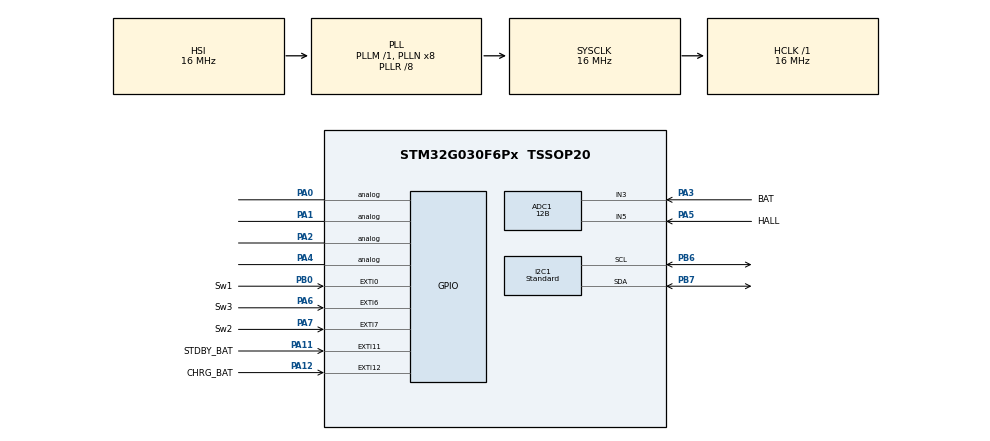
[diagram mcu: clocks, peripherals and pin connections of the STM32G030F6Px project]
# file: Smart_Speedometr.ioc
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ADC1.AWD1HighThreshold=2300
ADC1.AWD1ITMode=ENABLE
ADC1.AWD1LowThreshold=0
ADC1.AWatchdogChannel=ADC_CHANNEL_5
ADC1.Channel-1\#ChannelRegularConversion=ADC_CHANNEL_3
ADC1.Channel-3\#ChannelRegularConversion=ADC_CHANNEL_5
ADC1.ClockPrescaler=ADC_CLOCK_ASYNC_DIV4
ADC1.ContinuousConvMode=ENABLE
ADC1.DMAContinuousRequests=ENABLE
ADC1.DataAlign=ADC_DATAALIGN_RIGHT
ADC1.DiscontinuousConvMode=DISABLE
ADC1.EOCSelection=ADC_EOC_SINGLE_CONV
ADC1.EnableAnalogWatchDog1=true
ADC1.LowPowerAutoPowerOff=DISABLE
ADC1.LowPowerAutoWait=DISABLE
ADC1.NbrOfConversion=2
ADC1.NbrOfConversionFlag=1
ADC1.Overrun=ADC_OVR_DATA_PRESERVED
ADC1.OversamplingMode=DISABLE
ADC1.Rank-1\#ChannelRegularConversion=1
ADC1.Rank-3\#ChannelRegularConversion=2
ADC1.Resolution=ADC_RESOLUTION_12B
ADC1.SamplingTime-1\#ChannelRegularConversion=ADC_SAMPLINGTIME_COMMON_1
ADC1.SamplingTime-3\#ChannelRegularConversion=ADC_SAMPLINGTIME_COMMON_2
ADC1.SamplingTimeCommon1=ADC_SAMPLETIME_160CYCLES_5
ADC1.SelectedChannel=ADC_CHANNEL_3|ADC_CHANNEL_5|ADC_CHANNEL_VREFINT|ADC_CHANNEL_VBAT
ADC1.Sequencer=FULLY_CONFIGURABLE
ADC1.TriggerFrequencyMode=ADC_TRIGGER_FREQ_HIGH
ADC1.master=1
Dma.ADC1.0.Direction=DMA_PERIPH_TO_MEMORY
Dma.ADC1.0.EventEnable=DISABLE
Dma.ADC1.0.Instance=DMA1_Channel1
Dma.ADC1.0.MemDataAlignment=DMA_MDATAALIGN_HALFWORD
Dma.ADC1.0.MemInc=DMA_MINC_ENABLE
Dma.ADC1.0.Mode=DMA_CIRCULAR
Dma.ADC1.0.PeriphDataAlignment=DMA_PDATAALIGN_HALFWORD
Dma.ADC1.0.PeriphInc=DMA_PINC_DISABLE
Dma.ADC1.0.Polarity=HAL_DMAMUX_REQ_GEN_RISING
Dma.ADC1.0.Priority=DMA_PRIORITY_LOW
Dma.ADC1.0.RequestNumber=1
Dma.ADC1.0.SignalID=NONE
Dma.ADC1.0.SyncEnable=DISABLE
Dma.ADC1.0.SyncPolarity=HAL_DMAMUX_SYNC_NO_EVENT
Dma.ADC1.0.SyncRequestNumber=1
Dma.ADC1.0.SyncSignalID=NONE
Dma.Request0=ADC1
I2C1.I2C_Speed_Mode=I2C_Standard
I2C1.Timing=0x00503D58
Mcu.Family=STM32G0
Mcu.Name=STM32G030F6Px
Mcu.Package=TSSOP20
NVIC.ADC1_IRQn=true\:0\:0\:false\:false\:true\:true\:true\:true
NVIC.DMA1_Channel1_IRQn=true\:0\:0\:false\:false\:true\:false\:true\:true
NVIC.EXTI0_1_IRQn=true\:0\:0\:false\:false\:true\:true\:true\:true
NVIC.EXTI4_15_IRQn=true\:0\:0\:false\:false\:true\:true\:true\:true
NVIC.TIM14_IRQn=true\:0\:0\:false\:false\:true\:true\:true\:true
NVIC.TIM16_IRQn=true\:0\:0\:false\:false\:true\:true\:true\:true
NVIC.TIM17_IRQn=true\:0\:0\:false\:false\:true\:true\:true\:true
NVIC.TIM3_IRQn=true\:0\:0\:false\:false\:true\:true\:true\:true
PA0.Signal=GPIO_Analog
PA1.Signal=GPIO_Analog
PA11\ [PA9].GPIO_Label=STDBY_BAT
PA11\ [PA9].GPIO_ModeDefaultEXTI=GPIO_MODE_IT_RISING_FALLING
PA11\ [PA9].GPIO_PuPd=GPIO_PULLUP
PA11\ [PA9].Signal=GPXTI11
PA12\ [PA10].GPIO_Label=CHRG_BAT
PA12\ [PA10].GPIO_ModeDefaultEXTI=GPIO_MODE_IT_RISING_FALLING
PA12\ [PA10].GPIO_PuPd=GPIO_PULLUP
PA12\ [PA10].Signal=GPXTI12
PA13.Mode=Serial_Wire
PA13.Signal=SYS_SWDIO
PA14-BOOT0.Mode=Serial_Wire
PA14-BOOT0.Signal=SYS_SWCLK
PA14-BOOT0__PA15.StandardMode=true
PA2.Signal=GPIO_Analog
PA3.GPIO_Label=BAT
PA3.Mode=IN3
PA3.Signal=ADC1_IN3
PA4.Signal=GPIO_Analog
PA5.GPIO_Label=HALL
PA5.Mode=IN5
PA5.Signal=ADC1_IN5
PA6.GPIO_Label=Sw3
PA6.GPIO_ModeDefaultEXTI=GPIO_MODE_IT_RISING_FALLING
PA6.GPIO_PuPd=GPIO_PULLUP
PA6.Signal=GPXTI6
PA7.GPIO_Label=Sw2
PA7.GPIO_ModeDefaultEXTI=GPIO_MODE_IT_RISING_FALLING
PA7.GPIO_PuPd=GPIO_PULLUP
PA7.Signal=GPXTI7
PB0.GPIO_Label=Sw1
PB0.GPIO_ModeDefaultEXTI=GPIO_MODE_IT_RISING_FALLING
PB0.GPIO_PuPd=GPIO_PULLUP
PB0.Signal=GPXTI0
PB0__PB1__PB2__PA8.StandardMode=true
PB3__PB4__PB5__PB6.StandardMode=true
PB6.Mode=I2C
PB6.Signal=I2C1_SCL
PB7.Mode=I2C
PB7.Signal=I2C1_SDA
PB7__PB8.StandardMode=true
PC14-OSC32_IN\ (PC14).Mode=LSE-External-Oscillator
PC14-OSC32_IN\ (PC14).Signal=RCC_OSC32_IN
PC14-OSC32_IN\ (PC14)__PB9.StandardMode=true
PC15-OSC32_OUT\ (PC15).Mode=LSE-External-Oscillator
PC15-OSC32_OUT\ (PC15).Signal=RCC_OSC32_OUT
ProjectManager.HeapSize=0x200
ProjectManager.StackSize=0x400
ProjectManager.TargetToolchain=STM32CubeIDE
RCC.ADCCLockSelection=RCC_ADCCLKSOURCE_PLLADC
RCC.ADCFreq_Value=16000000
RCC.AHBFreq_Value=16000000
RCC.CortexFreq_Value=16000000
RCC.EXTERNAL_CLOCK_VALUE=12288000
RCC.HCLKFreq_Value=16000000
RCC.HSE_VALUE=8000000
RCC.HSI_VALUE=16000000
RCC.PLLP=RCC_PLLP_DIV8
RCC.PLLR=RCC_PLLR_DIV8
RCC.RTCClockSelection=RCC_RTCCLKSOURCE_LSE
RCC.SYSCLKFreq_VALUE=16000000
RCC.SYSCLKSource=RCC_SYSCLKSOURCE_PLLCLK
RCC.VCOOutputFreq_Value=128000000
TIM14.Period=5050
TIM14.Prescaler=15999
TIM16.Period=4999
TIM16.Prescaler=15999
TIM17.Period=14999
TIM17.Prescaler=15999
TIM3.Period=59
TIM3.Prescaler=15999
VP_ADC1_Vbat_Input.Mode=IN-Vbat
VP_ADC1_Vref_Input.Mode=IN-Vrefint
VP_RTC_VS_RTC_Activate.Mode=RTC_Enabled
VP_TIM14_VS_ClockSourceINT.Mode=Enable_Timer
VP_TIM16_VS_ClockSourceINT.Mode=Enable_Timer
VP_TIM17_VS_ClockSourceINT.Mode=Enable_Timer
VP_TIM3_VS_ClockSourceINT.Mode=Internal
board=custom

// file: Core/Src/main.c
/* USER CODE BEGIN Header */
/**
  ******************************************************************************
  * @file           : main.c
  * @brief          : Main program body
  ******************************************************************************
  * @attention
  *
  * Copyright (c) 2025 STMicroelectronics.
  * All rights reserved.
  *
  * This software is licensed under terms that can be found in the LICENSE file
  * in the root directory of this software component.
  * If no LICENSE file comes with this software, it is provided AS-IS.
  *
  ******************************************************************************
  */
/* USER CODE END Header */
#include "main.h"

/* USER CODE BEGIN Includes */
#include <stdio.h>
#include "ssd1306.h"

/* USER CODE END Includes */

/* USER CODE BEGIN PD */
//#define ADDR_CALIBR_VREF ((uint16_t*) ((uint32_t) 0x1FFF75AA))

#define INCH20_WHEEL 1595 // meters 10^-3
#define INCH24_WHEEL 1915 // meters 10^-3
#define INCH26_WHEEL 2074 // meters 10^-3
#define INCH27_WHEEL 2154 // meters 10^-3
#define INCH28_WHEEL 2234 // meters 10^-3
#define INCH29_WHEEL 2314 // meters 10^-3

#define SW1 (1<<0)		// Button 1
#define SW2 (1<<1)		// Button 2
#define SW3 (1<<2)		// Button 3
#define TIMER3 (1<<3)	// Timer 3
#define TIMER16 (1<<4)	// Timer 16
#define START_TIM14 (1<<5)	// Start  Timer 14
#define SLEEP (1<<6)	// Sleep MCU

#define DELAY 200 		// ms
#define DELAY_ADC 29 	// ms

#define SMOOTH_SPEED_A 		25
#define SMOOTH_SPEED_DEL 	(100-SMOOTH_SPEED_A)

#define QUANTITY_OF_SAMPLES_SPEED 60

/* USER CODE END PD */

ADC_HandleTypeDef hadc1;
DMA_HandleTypeDef hdma_adc1;

I2C_HandleTypeDef hi2c1;

RTC_HandleTypeDef hrtc;

TIM_HandleTypeDef htim3;
TIM_HandleTypeDef htim14;
TIM_HandleTypeDef htim16;
TIM_HandleTypeDef htim17;

/* USER CODE BEGIN PV */

RTC_TimeTypeDef sTime;
RTC_DateTypeDef sDate;

char buf[25]; // Buffer for sprintf

volatile uint16_t adc[2]; 	// Results of ADC with DMA

volatile uint16_t smooth_speed = 0;  // Variable for regulation speed
volatile uint16_t speed = 0;			// Actual speed
volatile uint16_t average_speed_array[QUANTITY_OF_SAMPLES_SPEED] = {0};
volatile uint16_t average_speed_day = 0;
volatile uint16_t max_speed_day = 0;

volatile uint16_t odometr_hundreds = 0;
volatile uint16_t odometr_thousands  = 0;
volatile uint16_t odometr_decimal  = 0;
volatile uint8_t impulse = 0;

volatile uint16_t travel_time_msec;
volatile uint8_t travel_time_sec;
volatile uint8_t travel_time_min;
volatile uint8_t travel_time_hours;

volatile uint8_t switchers = 0b10000; // bits : 0 - sw1, 1 - sw2, 2 - sw3, 3 - tim3, 4 - tim16, 5 - start_tim_14
											// 6 - sleep

typedef enum {
	MAIN,
	SETTINGS,
	TIME,
	SIZE,
	CALIBRATION,
	COLOR
}Display;
Display config = MAIN;

uint16_t size = INCH26_WHEEL;					// Size of wheel

//volatile uint8_t impulse = 0;								// Impulse from Hall sensor
volatile uint16_t duration = 5025;						// Duration between impulse
//volatile uint8_t counter = 0;

uint16_t dead_zone, direct_zone;				// Variables for calibration

/* USER CODE END PV */

void SystemClock_Config(void);
static void MX_GPIO_Init(void);
static void MX_DMA_Init(void);
static void MX_I2C1_Init(void);
static void MX_ADC1_Init(void);
static void MX_RTC_Init(void);
static void MX_TIM16_Init(void);
static void MX_TIM14_Init(void);
static void MX_TIM3_Init(void);
static void MX_TIM17_Init(void);
/* USER CODE BEGIN PFP */
void AntiRattlesnake_TIM16(uint16_t Delay);
void CheckADC_or_Sleep(uint8_t Delay_ADC);

void WriteTime();		// Show time on display
void ConfigTime();		// Function for config time

uint16_t BatteryCharge();				// Measure Charge of battery
void WriteBatteryCharge(uint16_t adc);	// Show Charge of battery

//void DetectImpulse();		// Function for detect impulses
void CalculateSpeed();		// Function for calculating actual and smooth speed
/* USER CODE END PFP */

/* USER CODE BEGIN 0 */
void HAL_GPIO_EXTI_Falling_Callback(uint16_t GPIO_Pin){		// EXTI Handler Falling SWITCHERS

	if(GPIO_Pin == Sw1_Pin){
		switchers |= SW1;

		switchers &= ~SLEEP;

		HAL_TIM_Base_Stop_IT(&htim17);
		TIM17->CNT = 0;
		TIM17->PSC = 15999;
		TIM17->ARR = 14999;
		TIM17->SR &= ~TIM_SR_UIF;
		HAL_TIM_Base_Start_IT(&htim17);
	}

	if(GPIO_Pin == Sw2_Pin){
		switchers |= SW2;

		switchers &= ~SLEEP;

		HAL_TIM_Base_Stop_IT(&htim17);
		TIM17->CNT = 0;
		TIM17->PSC = 15999;
		TIM17->ARR = 14999;
		TIM17->SR &= ~TIM_SR_UIF;
		HAL_TIM_Base_Start_IT(&htim17);
	}

	if(GPIO_Pin == Sw3_Pin){
		switchers |= SW3;

		switchers &= ~SLEEP;

		HAL_TIM_Base_Stop_IT(&htim17);
		TIM17->CNT = 0;
		TIM17->PSC = 15999;
		TIM17->ARR = 14999;
		TIM17->SR &= ~TIM_SR_UIF;
		HAL_TIM_Base_Start_IT(&htim17);

	}
}
void HAL_GPIO_EXTI_Rising_Callback(uint16_t GPIO_Pin){		// EXTI Handler Rising SWITCHERS
	if(GPIO_Pin == Sw1_Pin){
		switchers &= ~SW1;
	}

	if(GPIO_Pin == Sw2_Pin){
		switchers &= ~SW2;
	}

	if(GPIO_Pin == Sw3_Pin){
		switchers &= ~SW3;
	}

}

void HAL_ADC_LevelOutOfWindowCallback(ADC_HandleTypeDef* hadc) 		// ADC Analog WatchDog Handler
{

HAL_ADC_Stop_DMA(&hadc1);

				if(switchers & START_TIM14){
					duration = TIM14->CNT;
					TIM14->CNT = 0;
				}
				else if(!(switchers & START_TIM14)){
					TIM14->CNT = 0;
					TIM14->SR &= ~TIM_SR_UIF;
					HAL_TIM_Base_Start_IT(&htim14);
					switchers |= START_TIM14;

					switchers &= ~TIMER3;
					HAL_TIM_Base_Stop_IT(&htim3);
					TIM3->CNT = 0;
					TIM3->SR &= ~TIM_SR_UIF;
					TIM3->ARR = 299;

					HAL_TIM_Base_Start_IT(&htim3);

					return 0;
				}

				if(duration > 37){

					switchers &= ~SLEEP;
					impulse++;

					travel_time_msec += duration;
					if(travel_time_msec >  1000){
						travel_time_sec += travel_time_msec/1000;
						travel_time_msec = travel_time_msec % 1000;
					}
					if(travel_time_sec >= 60){
						travel_time_min += travel_time_sec/60;
						travel_time_sec =  travel_time_sec - 60;
					}
					if(travel_time_min >= 60){
						travel_time_hours +=  travel_time_min/60;
						travel_time_min = travel_time_min - 60;
					}
					if(travel_time_hours >= 24)
						travel_time_hours = 0;

					uint8_t static time_for_avr;
					if(time_for_avr != sTime.Minutes){
						time_for_avr = sTime.Minutes;
						average_speed_array[time_for_avr] = smooth_speed;
					}

					HAL_TIM_Base_Stop_IT(&htim17);
					TIM17->CNT = 0;
					TIM17->PSC = 15999;
					TIM17->ARR = 14999;
					TIM17->SR &= ~TIM_SR_UIF;
					HAL_TIM_Base_Start_IT(&htim17);

				}

				switchers &= ~TIMER3;
				HAL_TIM_Base_Stop_IT(&htim3);
				TIM3->CNT = 0;
				TIM3->SR &= ~TIM_SR_UIF;
				TIM3->ARR = DELAY_ADC;

				HAL_TIM_Base_Start_IT(&htim3);

}
/* USER CODE END 0 */

int main(void)
{

  /* MCU Configuration--------------------------------------------------------*/

  /* Reset of all peripherals, Initializes the Flash interface and the Systick. */
  HAL_Init();

  /* Configure the system clock */
  SystemClock_Config();

  /* Initialize all configured peripherals */
  MX_GPIO_Init();
  MX_DMA_Init();
  MX_I2C1_Init();
  MX_ADC1_Init();
  MX_RTC_Init();
  MX_TIM16_Init();
  MX_TIM14_Init();
  MX_TIM3_Init();
  MX_TIM17_Init();
  /* USER CODE BEGIN 2 */
  ssd1306_Init();
  ssd1306_FlipScreenVertically();
  ssd1306_Clear();
  ssd1306_SetColor(White);
  /* USER CODE END 2 */

  /* Infinite loop */
  /* USER CODE BEGIN WHILE */

HAL_ADC_Start_DMA(&hadc1, (uint32_t *)adc, 2);

dead_zone = adc[1];
direct_zone = 250;

TIM17->CNT = 0;
TIM17->SR &= ~TIM_SR_UIF;
//TIM3->ARR = DELAY_ADC;
HAL_TIM_Base_Start_IT(&htim17);

  while (1)
  {
if(switchers & SLEEP)
	ssd1306_DisplayOff();
else if(!(switchers & SLEEP))
	ssd1306_DisplayOn();

	  if(switchers & SW1  && switchers & SW3){
	if(!(switchers & TIMER16)){
		if(TIM16->CNT >= 1500){
					  config = 1;
					  switchers &= ~SW1;
					  switchers &= ~SW3;
				  }
	}
	else{
		switchers &= ~TIMER16;
		TIM16->CNT = 0;
		TIM16->SR &= ~TIM_SR_UIF;
		TIM16->ARR = 2000;
		HAL_TIM_Base_Start_IT(&htim16);
	}
	  }

switch (config){

case(MAIN):
WriteTime();

WriteBatteryCharge(BatteryCharge());

CalculateSpeed();

	 break;

case(SETTINGS):			// Settings

typedef enum {STATUS = 0, SET_TIME = 1, SET_SIZE = 2, SET_COLOR = 3, MAKE_CALIBRATION = -1} Settings;
static Settings con;

if(switchers & SW1  && switchers & SW3)
	__NOP();

else if(switchers & SW3 && switchers & TIMER16){
	con++;
	AntiRattlesnake_TIM16(DELAY);
}
else if(switchers & SW1 && switchers & TIMER16){
	con--;
	AntiRattlesnake_TIM16(DELAY);
}

if(con > 3)
	con = -1;
else if(con < -1)
	con = 3;

switch (con) {
case(STATUS) :
		ssd1306_SetCursor(20, 0);
		sprintf(buf, "STATUS");
		ssd1306_WriteString(buf, Font_11x18);

		ssd1306_SetCursor(0, 20);
		sprintf(buf, "AVR SPEED:%02u.%01ukm/h", average_speed_day/10, average_speed_day % 10);
		ssd1306_WriteString(buf, Font_7x10);

		ssd1306_SetCursor(0, 30);
		sprintf(buf, "MAX SPEED:%02u.%01ukm/h", max_speed_day/10, max_speed_day % 10);
		ssd1306_WriteString(buf, Font_7x10);

		ssd1306_SetCursor(0, 40);
		sprintf(buf, "RIDE TIME:%02u:%02u:%02u",travel_time_hours , travel_time_min, travel_time_sec);
		ssd1306_WriteString(buf, Font_7x10);

		if(switchers & SW2 && switchers & TIMER16){
			if(switchers & SW2 && switchers & TIMER16){
				config = MAIN;
				AntiRattlesnake_TIM16(DELAY);
			}
		}
	break;

case(SET_TIME): //Config Time
		ssd1306_SetCursor(0, 0);
		sprintf(buf, "Set time");
		ssd1306_WriteString(buf, Font_11x18);

		if(switchers & SW2 && switchers & TIMER16){
			config = 2;
			AntiRattlesnake_TIM16(DELAY);
		}
		break;

case(SET_SIZE): //Config Size

		ssd1306_SetCursor(0, 0);
		sprintf(buf, "Set size");
		ssd1306_WriteString(buf, Font_11x18);

		if(switchers & SW2 && switchers & TIMER16){
			config = 3;

			size = 0;

			AntiRattlesnake_TIM16(DELAY);
		}
		break;

case(MAKE_CALIBRATION): //Config Calibration
		ssd1306_SetCursor(0, 0);
		sprintf(buf, "Calibration");
		ssd1306_WriteString(buf, Font_11x18);

		if (switchers & SW2 && switchers & TIMER16){
			config = 4;

			AntiRattlesnake_TIM16(DELAY);

		}
		break;

case(SET_COLOR):
		ssd1306_SetCursor(0, 0);
		sprintf(buf, "Set mode");
		ssd1306_WriteString(buf, Font_11x18);

		ssd1306_SetCursor(0, 20);
		sprintf(buf, "Dark or Light");
		ssd1306_WriteString(buf, Font_7x10);

		ssd1306_SetCursor(0, 30);
		sprintf(buf, "for display");
		ssd1306_WriteString(buf, Font_7x10);

		if (switchers & SW2 && switchers & TIMER16){
					config = 5;

					AntiRattlesnake_TIM16(DELAY);

				}

		break;
}
		break;
case(TIME):
		ConfigTime();
		break;
case(SIZE): //Size

uint8_t table_of_size[6] = {20, 24, 26, 27, 28, 29};

		static int8_t sizes;

		if(switchers & SW2 && switchers & TIMER16){
			config = 0;

			switch(sizes){
			case (0) :
		size = INCH20_WHEEL;
				break;
			case (1) :
		size = INCH24_WHEEL;
				break;
			case (2) :
		size = INCH26_WHEEL;
				break;
			case (3) :
		size = INCH27_WHEEL;
				break;
			case (4) :
		size = INCH28_WHEEL;
				break;
			case (5) :
		size = INCH29_WHEEL;
				break;
			}

			AntiRattlesnake_TIM16(DELAY);

			break;

		}
		else if(switchers & SW3 && switchers & TIMER16){
			sizes++;
			if(sizes > 5)
				sizes = 0;

			AntiRattlesnake_TIM16(DELAY);
		}

		else if(switchers & SW1 && switchers & TIMER16){
			sizes--;
			if(sizes < 0)
				sizes = 5;

			AntiRattlesnake_TIM16(DELAY);
		}

		ssd1306_SetCursor(33, 0);
		sprintf(buf, "Wheel");
		ssd1306_WriteString(buf, Font_11x18);

		ssd1306_SetCursor(0, 39);
		sprintf(buf, "Size:%dinch", table_of_size[sizes]);
		ssd1306_WriteString(buf, Font_11x18);

		break;
case(CALIBRATION): // Calibration

static uint8_t zones;
static volatile uint16_t dead_zone, direct_zone;

		if(zones){
			ssd1306_SetCursor(17, 0);
			sprintf(buf, "Set direct zone");
			ssd1306_WriteString(buf, Font_7x10);

if(switchers & SW2 && switchers & TIMER16){

	ADC_AnalogWDGConfTypeDef AnalogWDGConfig = {0};

				direct_zone = adc[1];

				zones = 0;
				config = MAIN;

				volatile uint16_t delta;
				if(direct_zone > dead_zone){
				 delta= (direct_zone - dead_zone)/2;

				AnalogWDGConfig.WatchdogNumber = ADC_ANALOGWATCHDOG_1;
				AnalogWDGConfig.WatchdogMode = ADC_ANALOGWATCHDOG_SINGLE_REG;
				AnalogWDGConfig.Channel = ADC_CHANNEL_5;
				AnalogWDGConfig.ITMode = ENABLE;
				AnalogWDGConfig.HighThreshold = direct_zone - delta;
				AnalogWDGConfig.LowThreshold = dead_zone - delta;
				if (HAL_ADC_AnalogWDGConfig(&hadc1, &AnalogWDGConfig) != HAL_OK)
				{
					 Error_Handler();
				}

				}
				else if(dead_zone > direct_zone){
					AnalogWDGConfig.WatchdogNumber = ADC_ANALOGWATCHDOG_1;
					AnalogWDGConfig.WatchdogMode = ADC_ANALOGWATCHDOG_SINGLE_REG;
					AnalogWDGConfig.Channel = ADC_CHANNEL_5;
					AnalogWDGConfig.ITMode = ENABLE;
					AnalogWDGConfig.HighThreshold = dead_zone + delta;
					AnalogWDGConfig.LowThreshold = direct_zone + delta;
					if (HAL_ADC_AnalogWDGConfig(&hadc1, &AnalogWDGConfig) != HAL_OK)
					{
						 Error_Handler();
					}
				}

				HAL_ADC_Stop_DMA(&hadc1);

				switchers &= ~TIMER3;
				HAL_TIM_Base_Stop_IT(&htim3);
				TIM3->CNT = 0;
				TIM3->SR &= ~TIM_SR_UIF;
				TIM3->ARR = 1999;

				HAL_TIM_Base_Start_IT(&htim3);

				AntiRattlesnake_TIM16(DELAY);
			}

			}
		else{
			ssd1306_SetCursor(17, 0);
			sprintf(buf, "Set dead zone");
			ssd1306_WriteString(buf, Font_7x10);

if(switchers & SW2 && switchers & TIMER16){

				dead_zone = adc[1];

				zones = 1;

				AntiRattlesnake_TIM16(DELAY);
			}

	}

			ssd1306_SetCursor(6, 24);
			sprintf(buf, "%d", adc[1]);
			ssd1306_WriteString(buf, Font_11x18);
			ssd1306_SetCursor(6, 48);
			sprintf(buf, "Put middle button");
			ssd1306_WriteString(buf, Font_7x10);

		break;

case(COLOR):
		ssd1306_SetCursor(0, 20);
		sprintf(buf, "Left for");
		ssd1306_WriteString(buf, Font_7x10);

		ssd1306_SetCursor(0, 30);
		sprintf(buf, "dark");
		ssd1306_WriteString(buf, Font_7x10);

		ssd1306_SetCursor(60, 20);
		sprintf(buf, "Right for");
		ssd1306_WriteString(buf, Font_7x10);

		ssd1306_SetCursor(60, 30);
		sprintf(buf, "light");
		ssd1306_WriteString(buf, Font_7x10);

		if(switchers & SW3){
			ssd1306_InvertDisplay();
			config = MAIN;
		}
		else if(switchers & SW1){
			 ssd1306_NormalDisplay();
			 config = MAIN;
		}

		break;
}

	 ssd1306_UpdateScreen();
	 ssd1306_Clear();
    /* USER CODE END WHILE */

  }
}

void SystemClock_Config(void)
{
  RCC_OscInitTypeDef RCC_OscInitStruct = {0};
  RCC_ClkInitTypeDef RCC_ClkInitStruct = {0};

  /** Configure the main internal regulator output voltage
  */
  HAL_PWREx_ControlVoltageScaling(PWR_REGULATOR_VOLTAGE_SCALE1);

  /** Configure LSE Drive Capability
  */
  HAL_PWR_EnableBkUpAccess();
  __HAL_RCC_LSEDRIVE_CONFIG(RCC_LSEDRIVE_LOW);

  /** Initializes the RCC Oscillators according to the specified parameters
  * in the RCC_OscInitTypeDef structure.
  */
  RCC_OscInitStruct.OscillatorType = RCC_OSCILLATORTYPE_HSI|RCC_OSCILLATORTYPE_LSE;
  RCC_OscInitStruct.LSEState = RCC_LSE_ON;
  RCC_OscInitStruct.HSIState = RCC_HSI_ON;
  RCC_OscInitStruct.HSIDiv = RCC_HSI_DIV1;
  RCC_OscInitStruct.HSICalibrationValue = RCC_HSICALIBRATION_DEFAULT;
  RCC_OscInitStruct.PLL.PLLState = RCC_PLL_ON;
  RCC_OscInitStruct.PLL.PLLSource = RCC_PLLSOURCE_HSI;
  RCC_OscInitStruct.PLL.PLLM = RCC_PLLM_DIV1;
  RCC_OscInitStruct.PLL.PLLN = 8;
  RCC_OscInitStruct.PLL.PLLP = RCC_PLLP_DIV8;
  RCC_OscInitStruct.PLL.PLLR = RCC_PLLR_DIV8;
  if (HAL_RCC_OscConfig(&RCC_OscInitStruct) != HAL_OK)
  {
    Error_Handler();
  }

  /** Initializes the CPU, AHB and APB buses clocks
  */
  RCC_ClkInitStruct.ClockType = RCC_CLOCKTYPE_HCLK|RCC_CLOCKTYPE_SYSCLK
                              |RCC_CLOCKTYPE_PCLK1;
  RCC_ClkInitStruct.SYSCLKSource = RCC_SYSCLKSOURCE_PLLCLK;
  RCC_ClkInitStruct.AHBCLKDivider = RCC_SYSCLK_DIV1;
  RCC_ClkInitStruct.APB1CLKDivider = RCC_HCLK_DIV1;

  if (HAL_RCC_ClockConfig(&RCC_ClkInitStruct, FLASH_LATENCY_0) != HAL_OK)
  {
    Error_Handler();
  }
}

static void MX_ADC1_Init(void)
{

  ADC_AnalogWDGConfTypeDef AnalogWDGConfig = {0};
  ADC_ChannelConfTypeDef sConfig = {0};

  /** Configure the global features of the ADC (Clock, Resolution, Data Alignment and number of conversion)
  */
  hadc1.Instance = ADC1;
  hadc1.Init.ClockPrescaler = ADC_CLOCK_ASYNC_DIV4;
  hadc1.Init.Resolution = ADC_RESOLUTION_12B;
  hadc1.Init.DataAlign = ADC_DATAALIGN_RIGHT;
  hadc1.Init.ScanConvMode = ADC_SCAN_ENABLE;
  hadc1.Init.EOCSelection = ADC_EOC_SINGLE_CONV;
  hadc1.Init.LowPowerAutoWait = DISABLE;
  hadc1.Init.LowPowerAutoPowerOff = DISABLE;
  hadc1.Init.ContinuousConvMode = ENABLE;
  hadc1.Init.NbrOfConversion = 2;
  hadc1.Init.DiscontinuousConvMode = DISABLE;
  hadc1.Init.ExternalTrigConv = ADC_SOFTWARE_START;
  hadc1.Init.ExternalTrigConvEdge = ADC_EXTERNALTRIGCONVEDGE_NONE;
  hadc1.Init.DMAContinuousRequests = ENABLE;
  hadc1.Init.Overrun = ADC_OVR_DATA_PRESERVED;
  hadc1.Init.SamplingTimeCommon1 = ADC_SAMPLETIME_160CYCLES_5;
  hadc1.Init.SamplingTimeCommon2 = ADC_SAMPLETIME_1CYCLE_5;
  hadc1.Init.OversamplingMode = DISABLE;
  hadc1.Init.TriggerFrequencyMode = ADC_TRIGGER_FREQ_HIGH;
  if (HAL_ADC_Init(&hadc1) != HAL_OK)
  {
    Error_Handler();
  }

  /** Configure Analog WatchDog 1
  */
  AnalogWDGConfig.WatchdogNumber = ADC_ANALOGWATCHDOG_1;
  AnalogWDGConfig.WatchdogMode = ADC_ANALOGWATCHDOG_SINGLE_REG;
  AnalogWDGConfig.Channel = ADC_CHANNEL_5;
  AnalogWDGConfig.ITMode = ENABLE;
  AnalogWDGConfig.HighThreshold = 2300;
  AnalogWDGConfig.LowThreshold = 0;
  if (HAL_ADC_AnalogWDGConfig(&hadc1, &AnalogWDGConfig) != HAL_OK)
  {
    Error_Handler();
  }

  /** Configure Regular Channel
  */
  sConfig.Channel = ADC_CHANNEL_3;
  sConfig.Rank = ADC_REGULAR_RANK_1;
  sConfig.SamplingTime = ADC_SAMPLINGTIME_COMMON_1;
  if (HAL_ADC_ConfigChannel(&hadc1, &sConfig) != HAL_OK)
  {
    Error_Handler();
  }

  /** Configure Regular Channel
  */
  sConfig.Channel = ADC_CHANNEL_5;
  sConfig.Rank = ADC_REGULAR_RANK_2;
  sConfig.SamplingTime = ADC_SAMPLINGTIME_COMMON_2;
  if (HAL_ADC_ConfigChannel(&hadc1, &sConfig) != HAL_OK)
  {
    Error_Handler();
  }

}

static void MX_I2C1_Init(void)
{

  hi2c1.Instance = I2C1;
  hi2c1.Init.Timing = 0x00503D58;
  hi2c1.Init.OwnAddress1 = 0;
  hi2c1.Init.AddressingMode = I2C_ADDRESSINGMODE_7BIT;
  hi2c1.Init.DualAddressMode = I2C_DUALADDRESS_DISABLE;
  hi2c1.Init.OwnAddress2 = 0;
  hi2c1.Init.OwnAddress2Masks = I2C_OA2_NOMASK;
  hi2c1.Init.GeneralCallMode = I2C_GENERALCALL_DISABLE;
  hi2c1.Init.NoStretchMode = I2C_NOSTRETCH_DISABLE;
  if (HAL_I2C_Init(&hi2c1) != HAL_OK)
  {
    Error_Handler();
  }

  /** Configure Analogue filter
  */
  if (HAL_I2CEx_ConfigAnalogFilter(&hi2c1, I2C_ANALOGFILTER_ENABLE) != HAL_OK)
  {
    Error_Handler();
  }

  /** Configure Digital filter
  */
  if (HAL_I2CEx_ConfigDigitalFilter(&hi2c1, 0) != HAL_OK)
  {
    Error_Handler();
  }

}

static void MX_RTC_Init(void)
{

  /** Initialize RTC Only
  */
  hrtc.Instance = RTC;
  hrtc.Init.HourFormat = RTC_HOURFORMAT_24;
  hrtc.Init.AsynchPrediv = 127;
  hrtc.Init.SynchPrediv = 255;
  hrtc.Init.OutPut = RTC_OUTPUT_DISABLE;
  hrtc.Init.OutPutRemap = RTC_OUTPUT_REMAP_NONE;
  hrtc.Init.OutPutPolarity = RTC_OUTPUT_POLARITY_HIGH;
  hrtc.Init.OutPutType = RTC_OUTPUT_TYPE_OPENDRAIN;
  hrtc.Init.OutPutPullUp = RTC_OUTPUT_PULLUP_NONE;
  if (HAL_RTC_Init(&hrtc) != HAL_OK)
  {
    Error_Handler();
  }

}

static void MX_TIM3_Init(void)
{

  TIM_ClockConfigTypeDef sClockSourceConfig = {0};
  TIM_MasterConfigTypeDef sMasterConfig = {0};

  htim3.Instance = TIM3;
  htim3.Init.Prescaler = 15999;
  htim3.Init.CounterMode = TIM_COUNTERMODE_UP;
  htim3.Init.Period = 59;
  htim3.Init.ClockDivision = TIM_CLOCKDIVISION_DIV1;
  htim3.Init.AutoReloadPreload = TIM_AUTORELOAD_PRELOAD_DISABLE;
  if (HAL_TIM_Base_Init(&htim3) != HAL_OK)
  {
    Error_Handler();
  }
  sClockSourceConfig.ClockSource = TIM_CLOCKSOURCE_INTERNAL;
  if (HAL_TIM_ConfigClockSource(&htim3, &sClockSourceConfig) != HAL_OK)
  {
    Error_Handler();
  }
  sMasterConfig.MasterOutputTrigger = TIM_TRGO_RESET;
  sMasterConfig.MasterSlaveMode = TIM_MASTERSLAVEMODE_DISABLE;
  if (HAL_TIMEx_MasterConfigSynchronization(&htim3, &sMasterConfig) != HAL_OK)
  {
    Error_Handler();
  }

}

static void MX_TIM14_Init(void)
{

  htim14.Instance = TIM14;
  htim14.Init.Prescaler = 15999;
  htim14.Init.CounterMode = TIM_COUNTERMODE_UP;
  htim14.Init.Period = 5050;
  htim14.Init.ClockDivision = TIM_CLOCKDIVISION_DIV1;
  htim14.Init.AutoReloadPreload = TIM_AUTORELOAD_PRELOAD_DISABLE;
  if (HAL_TIM_Base_Init(&htim14) != HAL_OK)
  {
    Error_Handler();
  }

}

static void MX_TIM16_Init(void)
{

  htim16.Instance = TIM16;
  htim16.Init.Prescaler = 15999;
  htim16.Init.CounterMode = TIM_COUNTERMODE_UP;
  htim16.Init.Period = 4999;
  htim16.Init.ClockDivision = TIM_CLOCKDIVISION_DIV1;
  htim16.Init.RepetitionCounter = 0;
  htim16.Init.AutoReloadPreload = TIM_AUTORELOAD_PRELOAD_DISABLE;
  if (HAL_TIM_Base_Init(&htim16) != HAL_OK)
  {
    Error_Handler();
  }

}

static void MX_TIM17_Init(void)
{

  htim17.Instance = TIM17;
  htim17.Init.Prescaler = 15999;
  htim17.Init.CounterMode = TIM_COUNTERMODE_UP;
  htim17.Init.Period = 14999;
  htim17.Init.ClockDivision = TIM_CLOCKDIVISION_DIV1;
  htim17.Init.RepetitionCounter = 0;
  htim17.Init.AutoReloadPreload = TIM_AUTORELOAD_PRELOAD_DISABLE;
  if (HAL_TIM_Base_Init(&htim17) != HAL_OK)
  {
    Error_Handler();
  }

}

static void MX_DMA_Init(void)
{

  /* DMA controller clock enable */
  __HAL_RCC_DMA1_CLK_ENABLE();

  /* DMA interrupt init */
  /* DMA1_Channel1_IRQn interrupt configuration */
  HAL_NVIC_SetPriority(DMA1_Channel1_IRQn, 0, 0);
  HAL_NVIC_EnableIRQ(DMA1_Channel1_IRQn);

}

static void MX_GPIO_Init(void)
{
  GPIO_InitTypeDef GPIO_InitStruct = {0};

  /* GPIO Ports Clock Enable */
  __HAL_RCC_GPIOB_CLK_ENABLE();
  __HAL_RCC_GPIOC_CLK_ENABLE();
  __HAL_RCC_GPIOA_CLK_ENABLE();

  /*Configure GPIO pins : PA0 PA1 PA2 PA4 */
  GPIO_InitStruct.Pin = GPIO_PIN_0|GPIO_PIN_1|GPIO_PIN_2|GPIO_PIN_4;
  GPIO_InitStruct.Mode = GPIO_MODE_ANALOG;
  GPIO_InitStruct.Pull = GPIO_NOPULL;
  HAL_GPIO_Init(GPIOA, &GPIO_InitStruct);

  /*Configure GPIO pins : Sw3_Pin Sw2_Pin STDBY_BAT_Pin CHRG_BAT_Pin */
  GPIO_InitStruct.Pin = Sw3_Pin|Sw2_Pin|STDBY_BAT_Pin|CHRG_BAT_Pin;
  GPIO_InitStruct.Mode = GPIO_MODE_IT_RISING_FALLING;
  GPIO_InitStruct.Pull = GPIO_PULLUP;
  HAL_GPIO_Init(GPIOA, &GPIO_InitStruct);

  /*Configure GPIO pin : Sw1_Pin */
  GPIO_InitStruct.Pin = Sw1_Pin;
  GPIO_InitStruct.Mode = GPIO_MODE_IT_RISING_FALLING;
  GPIO_InitStruct.Pull = GPIO_PULLUP;
  HAL_GPIO_Init(Sw1_GPIO_Port, &GPIO_InitStruct);

  /* EXTI interrupt init*/
  HAL_NVIC_SetPriority(EXTI0_1_IRQn, 0, 0);
  HAL_NVIC_EnableIRQ(EXTI0_1_IRQn);

  HAL_NVIC_SetPriority(EXTI4_15_IRQn, 0, 0);
  HAL_NVIC_EnableIRQ(EXTI4_15_IRQn);

}

/* USER CODE BEGIN 4 */

void WriteTime(){
	HAL_RTC_GetTime(&hrtc, &sTime, RTC_FORMAT_BIN);
    HAL_RTC_GetDate(&hrtc, &sDate, RTC_FORMAT_BIN);

    sprintf(buf, "%02u:%02u:%02u", sTime.Hours, sTime.Minutes, sTime.Seconds);

		  	  	ssd1306_SetCursor(28, 0);
		        ssd1306_WriteString(buf, Font_7x10);

}

uint16_t BatteryCharge(){
	static uint16_t adc1;
	static uint8_t once_minute, access;

	if(access){
		adc1 = adc[0];
		//
		 if(adc1 > 2050){
		 adc1 -= 2050;
		 adc1 *= 0.175f;
		 }
		 else
		adc1 = 0;

		 once_minute = sTime.Minutes;
		 access = 0;
	}

	if(sTime.Minutes != once_minute)
			access = 1;

	if(adc1 >= 100)
	adc1 = 100;

	return adc1;
}

void WriteBatteryCharge(uint16_t adc){

	ssd1306_SetCursor(100, 0);
		 sprintf(buf, "%d", adc);
		 ssd1306_WriteString(buf, Font_7x10);
		 ssd1306_WriteChar('%', Font_7x10);

}

void ConfigTime(){

	sprintf(buf, "%02u:%02u:%02u", sTime.Hours, sTime.Minutes, sTime.Seconds);

					  	  	ssd1306_SetCursor(20, 0);
					        ssd1306_WriteString(buf, Font_11x18);

					if(switchers & SW1 && switchers & SW3){

					if (HAL_RTC_SetTime(&hrtc, &sTime, RTC_FORMAT_BIN) != HAL_OK)
					        Error_Handler();

					    config = 0;
					}
					else{
					if(switchers & SW3 && switchers & TIMER16){

						if(sTime.Seconds < 60)
							sTime.Seconds++;
						else
							sTime.Seconds = 0;

						AntiRattlesnake_TIM16(DELAY);

					}

					if(switchers & SW2 && switchers & TIMER16){
						if(sTime.Minutes < 60)
							sTime.Minutes++;
						else
							sTime.Minutes = 0;

						AntiRattlesnake_TIM16(DELAY);
					}

					if(switchers & SW1 && switchers & TIMER16){
						if(sTime.Hours < 24)
							sTime.Hours++;
						else
							sTime.Hours = 0;

						AntiRattlesnake_TIM16(DELAY);
					}
					}

}

void CalculateSpeed(){

	if(TIM14->CNT > duration)
	 duration = TIM14->CNT;

	if(duration < 37){  // 200 khm
			ssd1306_SetCursor(0, 15);
			snprintf(buf, sizeof(buf), "Check cable");
			ssd1306_WriteString(buf, Font_11x18);

			ssd1306_SetCursor(20, 32);
			snprintf(buf, sizeof(buf), "or move");
			ssd1306_WriteString(buf, Font_11x18);

		}
	else if(duration < 5000){

	speed = (size * 36)/duration  ;  // size = ? * 10^-3 ... speed = ... *10^3 -> del 10^+-3

	smooth_speed = (SMOOTH_SPEED_A * speed + SMOOTH_SPEED_DEL * smooth_speed)/100;

	volatile uint8_t real_speed1 = (uint16_t)smooth_speed / 10;

	volatile uint8_t real_speed2 = (uint16_t)smooth_speed % 10;

		 ssd1306_SetCursor(20, 25);
		 snprintf(buf, sizeof(buf), "%d.%dkm/h", real_speed1, real_speed2);
		 ssd1306_WriteString(buf, Font_11x18);
	}
	else{
		ssd1306_SetCursor(20, 25);
		snprintf(buf, sizeof(buf), "0.0kh/h");
		ssd1306_WriteString(buf, Font_11x18);
	}

	//odometr max : 49999.999
	uint16_t counter = impulse * size;   // size 2074 od 1
	counter = counter / 10 ; //207 , 2 m 7 cm
	odometr_decimal += counter;

	if(odometr_decimal > 100){
		odometr_hundreds += odometr_decimal/100;
		odometr_decimal = odometr_decimal % 100;

 	}

	if(odometr_hundreds > 1000){
		odometr_thousands++;
		odometr_hundreds = odometr_hundreds - 1000;
	}

	if(odometr_thousands > 49999)
		odometr_thousands = 0;

	impulse = 0;

	ssd1306_SetCursor(17, 50);
	snprintf(buf, sizeof(buf), "%05u.%03ukh/m", odometr_thousands, odometr_hundreds);
	ssd1306_WriteString(buf, Font_7x10);

	// Average speed
	uint16_t solve = 0;
for(uint8_t i = 0 ; i < QUANTITY_OF_SAMPLES_SPEED; i++)
	solve += average_speed_array[i]/QUANTITY_OF_SAMPLES_SPEED;

average_speed_day = solve;

// Max speed
if(smooth_speed > max_speed_day)
	max_speed_day = smooth_speed;
}

void AntiRattlesnake_TIM16(uint16_t Delay){
		switchers &= ~TIMER16;
		TIM16->CNT = 0;
		TIM16->SR &= ~TIM_SR_UIF;
		TIM16->ARR = Delay;
		HAL_TIM_Base_Start_IT(&htim16);
}

void CheckADC_or_Sleep(uint8_t Delay_ADC){

}
/* USER CODE END 4 */

void Error_Handler(void)
{
  __disable_irq();
  while (1)
  {
  }
}
